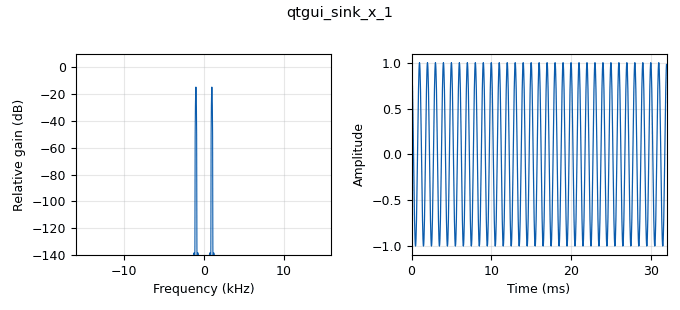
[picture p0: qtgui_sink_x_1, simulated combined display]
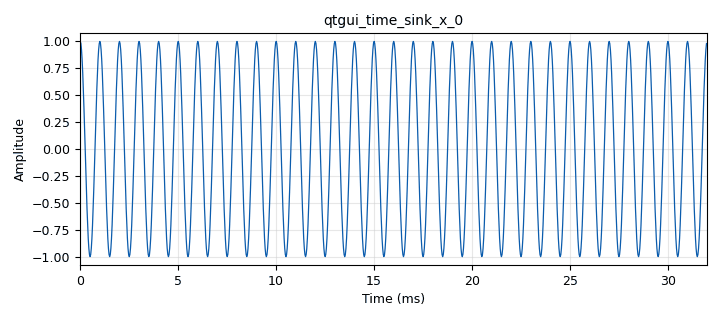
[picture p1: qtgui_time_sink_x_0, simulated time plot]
options:
  parameters:
    generate_options: qt_gui
    id: work_2
    output_language: python
    title: Not titled yet
  states: {}

blocks:
- name: samp_rate
  id: variable
  parameters:
    value: '32000'
  states: {}
- name: analog_sig_source_x_0
  id: analog_sig_source_x
  parameters:
    amp: '1'
    freq: '1000'
    offset: '0'
    phase: '0'
    samp_rate: samp_rate
    type: float
    waveform: analog.GR_COS_WAVE
  states: {}
- name: blocks_throttle2_0
  id: blocks_throttle2
  parameters:
    samples_per_second: samp_rate
    type: float
  states: {}
- name: qtgui_number_sink_0
  id: qtgui_number_sink
  parameters:
    graph_type: qtgui.NUM_GRAPH_HORIZ
    type: float
  states: {}
- name: qtgui_sink_x_1
  id: qtgui_sink_x
  parameters:
    bw: samp_rate
    fc: '0'
    fftsize: '1024'
    type: float
  states: {}
- name: qtgui_time_sink_x_0
  id: qtgui_time_sink_x
  parameters:
    size: '1024'
    srate: samp_rate
    type: float
  states: {}

connections:
- [analog_sig_source_x_0, '0', blocks_throttle2_0, '0']
- [blocks_throttle2_0, '0', qtgui_number_sink_0, '0']
- [blocks_throttle2_0, '0', qtgui_sink_x_1, '0']
- [blocks_throttle2_0, '0', qtgui_time_sink_x_0, '0']

metadata:
  file_format: 1
  grc_version: 3.10.7.0
